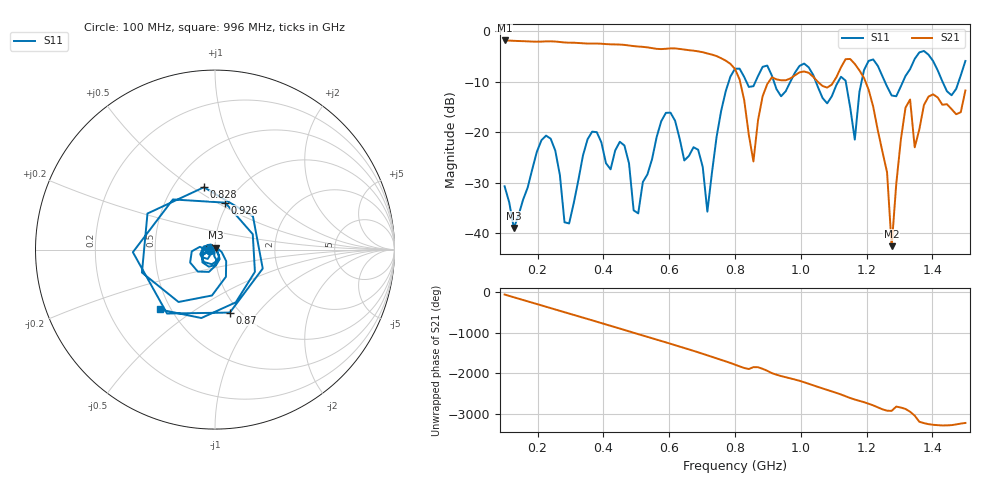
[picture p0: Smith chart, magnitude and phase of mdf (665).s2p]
! NanoVNA-App
! Date: 2025-09-25 15:43:35
! Start: 100MHz Stop: 1,5GHz Points: 101
! S-Parameter data: F S11 S21 S12 S22
# Hz S RI R 50
!  Frequency  S11_Real  S11_Imag  S21_Real  S21_Imag  S12_Real  S12_Imag  S22_Real  S22_Imag
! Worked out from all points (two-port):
!   101 points, 100 MHz to 1.5 GHz, reference 50 ohm
!   highest |S21| = -1.80 dB at 100 MHz (marker M1); lowest = -42.6 dB at 1.276 GHz (marker M2)
!   |S21| within 3 dB of the highest: start of sweep to 739.4 MHz
!   lowest |S11| = -39.0 dB at 128 MHz (marker M3), VSWR 1.02, Z = 50.3 + j1.08 ohm
!   |S11| at or under -10 dB: start of sweep to 781 MHz; 918.5 MHz to 968.1 MHz (49.66 MHz wide, 5.26 % of centre); 1.046 GHz to 1.114 GHz (67.76 MHz wide, 6.28 % of centre) (the widest 3 of 7)
!   S12 and S22 are empty: the file has one direction only
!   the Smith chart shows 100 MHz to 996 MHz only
!   S11 on the Smith chart (normalised r, x): 100 MHz: 0.94, -0.01; 828 MHz: 0.70, +0.56; 870 MHz: 0.90, -0.73; 926 MHz: 0.97, +0.55; 996 MHz: 0.44, -0.37
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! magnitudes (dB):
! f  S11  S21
! 100 MHz  -30.7  -1.8
! 128 MHz  -39.0  -1.9
! 212 MHz  -21.6  -2.0
! 282 MHz  -37.9  -2.2
! 338 MHz  -24.6  -2.4
! 464 MHz  -22.6  -2.7
! 506 MHz  -36.1  -3.0
! 576 MHz  -17.8  -3.5
! 716 MHz  -35.8  -4.4
! 800 MHz  -7.4  -7.4
! 828 MHz  -9.0  -13.6
! 856 MHz  -10.9  -25.8
! 870 MHz  -8.9  -17.6
! 926 MHz  -11.4  -9.5
! 996 MHz  -6.9  -8.1
! 1.038 GHz  -8.7  -9.0
! 1.164 GHz  -21.5  -6.5
! 1.192 GHz  -7.7  -9.2
! 1.262 GHz  -10.9  -28.0
! 1.276 GHz  -12.7  -42.6
! 1.318 GHz  -8.9  -15.1
! 1.5 GHz  -5.9  -11.7
